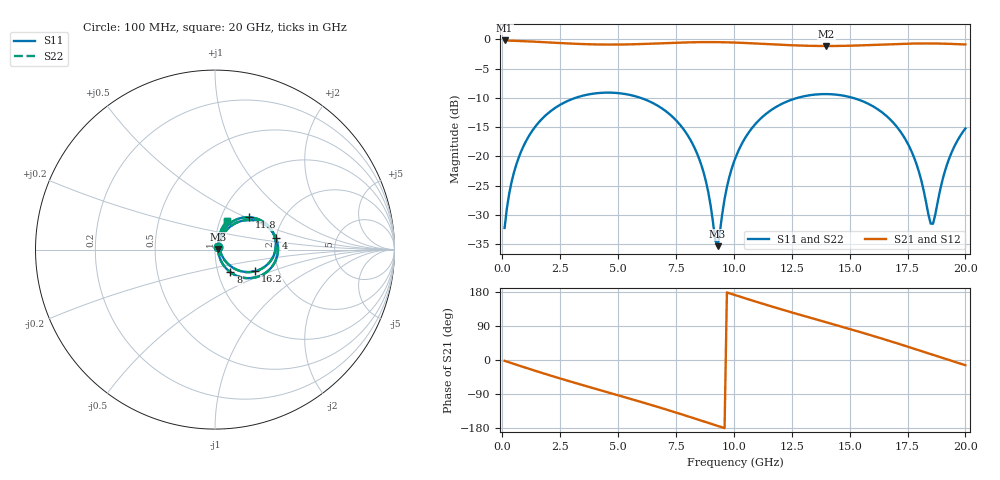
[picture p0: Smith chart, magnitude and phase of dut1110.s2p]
! Touchstone file exported from HFSS 2026.1.0
!  File:  C:/ffzhzh/LocalFiles/Ansys_Project_Files/temp_train_TSV_RDL_1110_1783304536_39728.aedt
!  Generated:  10:36:56 AM Jul  6, 2026
!  Design:  TSV_RDL
!  Project:  temp_train_TSV_RDL_1110_1783304536_39728
! Variables:
!  h_bsmrdl = 5.97um
!  h_ox = 20um
!  h_rdl = 5um
!  h_sub = 98.39um
!  h_tmrdl = 3.44um
!  h_tsv = 98.39um
!  h_via = 3um
!  l_bsmrdl = 791.28um
!  l_sub = 6227.32um
!  l_tmrdl = 819.57um
!  m_sub = 200um
!  pitch = 46.81um
!  r_tsv = 9.28um
!  s_tmrdl = 10um
!  w_bsmrdl = 29.93um
!  w_sub = 500um
!  w_tmrdl = 28.47um
!  x_tsv_center1 = 833.805um
!  x_tsv_center2 = 1655.015um
!  x_tsv_center3 = 2503.055um
!  x_tsv_center4 = 3324.265um
!  x_tsv_center5 = 4172.305um
!  x_tsv_center6 = 4993.515um
# GHz S MA R 50.000000
! Terminal data exported
! Port[1] = TM_RDL1_1_T1
! Port[2] = TM_RDL5_1_T1
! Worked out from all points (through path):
!   200 points, 100 MHz to 20 GHz, reference 50 ohm
!   highest |S21| = -0.17 dB at 100 MHz (marker M1); lowest = -1.1 dB at 14 GHz (marker M2)
!   group delay of S21, straight-line fit = 51.5 ps
!   lowest |S11| = -35.4 dB at 9.3 GHz (marker M3), VSWR 1.03, Z = 51.7 + j0.414 ohm
!   |S11| at or under -10 dB: start of sweep to 3.151 GHz; 5.985 GHz to 12.74 GHz (6.752 GHz wide, 72.1 % of centre); 15.15 GHz to end of sweep
!   |S22| runs from -35.4 to -9.1 dB; largest |S21 - S12| = 1.7e-14
!   S11 on the Smith chart (normalised r, x): 100 MHz: 1.04, +0.03; 4 GHz: 2.00, +0.29; 8 GHz: 1.15, -0.30; 11.8 GHz: 1.36, +0.53; 16.2 GHz: 1.52, -0.39; 20 GHz: 1.09, +0.36
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0.1  0.02445 37.6  0.9811 -2.2  0.9811 -2.2  0.02445 37.6
! Gamma 0 0 0 0
! Port Impedance 50 0 50 0
0.5  0.0724 60.9  0.9743 -10.3  0.9743 -10.3  0.0724 60.9
1.1  0.1438 57.6  0.9641 -22.2  0.9641 -22.2  0.1438 57.6
2.1  0.2449 42.2  0.9414 -41.4  0.9414 -41.4  0.2449 42.2
3.5  0.3314 18.8  0.9132 -66.8  0.9132 -66.8  0.3314 18.8
4  0.3457 10.5  0.9075 -75.6  0.9075 -75.6  0.3457 10.4
5.4  0.3391 -12.8  0.9076 -100.1  0.9076 -100.1  0.3391 -12.8
6.8  0.2649 -36.4  0.9264 -125.4  0.9264 -125.4  0.2649 -36.4
8  0.1523 -55.8  0.9444 -148.3  0.9444 -148.3  0.1522 -55.9
8.7  0.07226 -62.0  0.9496 -162.0  0.9496 -162.0  0.07222 -62.1
9.3  0.01707 13.6  0.9489 -173.9  0.9489 -173.9  0.01693 13.6
9.7  0.05458 67.5  0.9457 178.2  0.9457 178.2  0.05454 67.6
10.1  0.1007 68.2  0.9404 170.4  0.9404 170.4  0.1007 68.3
11.8  0.2632 43.2  0.906 138.2  0.906 138.2  0.2632 43.2
13.4  0.3361 17.0  0.8817 109.8  0.8817 109.8  0.3361 16.9
14  0.3412 7.3  0.8794 99.3  0.8794 99.3  0.3412 7.2
16.2  0.2542 -28.2  0.9016 60.1  0.9016 60.1  0.2541 -28.4
16.7  0.2119 -36.0  0.9099 50.8  0.9099 50.8  0.2118 -36.2
17.8  0.09599 -47.8  0.9233 29.5  0.9233 29.5  0.0957 -48.4
18.5  0.02663 -0.7  0.9248 15.6  0.9248 15.6  0.02566 -1.2
19.3  0.09603 72.5  0.9181 -0.2  0.9181 -0.2  0.0958 73.0
20  0.1735 66.6  0.9063 -13.8  0.9063 -13.8  0.1734 66.8
